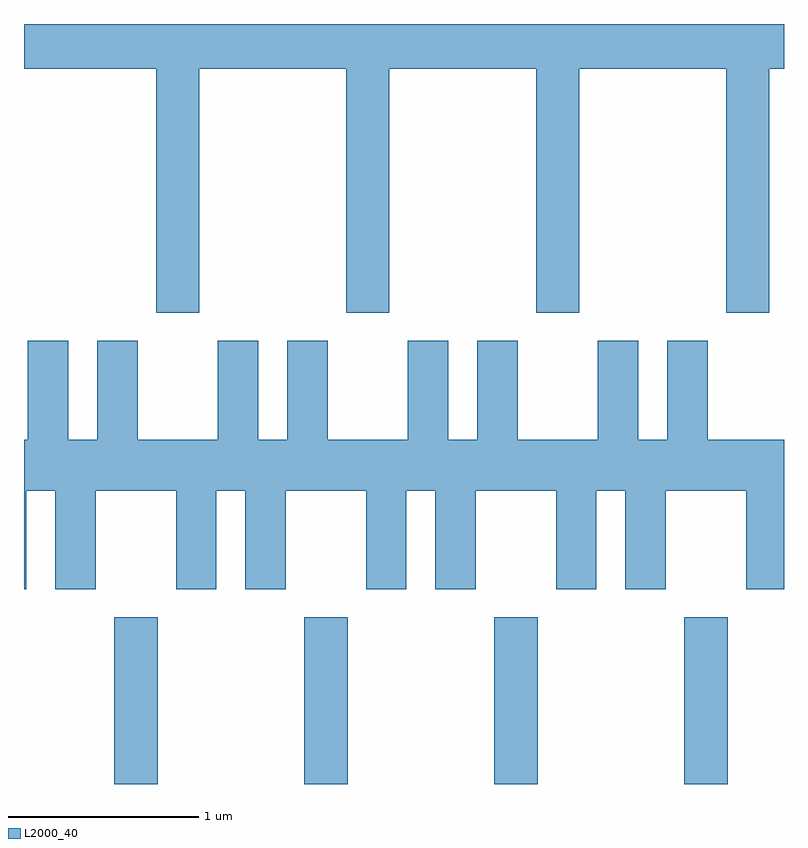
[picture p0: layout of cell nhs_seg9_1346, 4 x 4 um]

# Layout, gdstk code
import gdstk
lib = gdstk.Library(unit=1e-6, precision=1e-09)
def R(c, l, rs):  # rectangles x0, y0, x1, y1
    for r in rs: c.add(gdstk.rectangle(r[:2], r[2:], *l))
def A(c, l, x, y, w, h, nx, ny, dx, dy):  # array of equal rectangles
    R(c, l, [(x+i*dx, y+j*dy, x+i*dx+w, y+j*dy+h) for i in range(nx) for j in range(ny)])
def P(c, l, *ps):  # polygons
    for p in ps: c.add(gdstk.Polygon(p, *l))
L2000_40 = (2000, 40)

nhs_seg9_1346 = lib.new_cell('nhs_seg9_1346')
A(nhs_seg9_1346, L2000_40, 224.086, 2052.432, 0.228, 0.877, 4, 1, 1, 0)
P(nhs_seg9_1346, L2000_40, [(224.534,2056.196),(225.306,2056.196),(225.306,2054.911),(225.534,2054.911),(225.534,2056.196),(226.306,2056.196),(226.306,2054.911),(226.534,2054.911),(226.534,2056.196),(227.306,2056.196),(227.306,2054.911),(227.534,2054.911),(227.534,2056.196),(227.611,2056.196),(227.611,2056.432),(223.611,2056.432),(223.611,2056.196),(224.306,2056.196),(224.306,2054.911),(224.534,2054.911)],
  [(226.209,2054.764),(225.996,2054.764),(225.996,2054.244),(225.844,2054.244),(225.844,2054.764),(225.631,2054.764),(225.631,2054.244),(225.209,2054.244),(225.209,2054.764),(224.996,2054.764),(224.996,2054.244),(224.844,2054.244),(224.844,2054.764),(224.631,2054.764),(224.631,2054.244),(224.209,2054.244),(224.209,2054.764),(223.996,2054.764),(223.996,2054.244),(223.844,2054.244),(223.844,2054.764),(223.631,2054.764),(223.631,2054.244),(223.611,2054.244),(223.611,2053.456),(223.624,2053.456),(223.624,2053.976),(223.776,2053.976),(223.776,2053.456),(223.989,2053.456),(223.989,2053.976),(224.411,2053.976),(224.411,2053.456),(224.624,2053.456),(224.624,2053.976),(224.776,2053.976),(224.776,2053.456),(224.989,2053.456),(224.989,2053.976),(225.411,2053.976),(225.411,2053.456),(225.624,2053.456),(225.624,2053.976),(225.776,2053.976),(225.776,2053.456),(225.989,2053.456),(225.989,2053.976),(226.411,2053.976),(226.411,2053.456),(226.624,2053.456),(226.624,2053.976),(226.776,2053.976),(226.776,2053.456),(226.989,2053.456),(226.989,2053.976),(227.411,2053.976),(227.411,2053.456),(227.611,2053.456),(227.611,2054.244),(227.209,2054.244),(227.209,2054.764),(226.996,2054.764),(226.996,2054.244),(226.844,2054.244),(226.844,2054.764),(226.631,2054.764),(226.631,2054.244),(226.209,2054.244)])

lib.write_gds('nhs_seg9_1346.gds')
